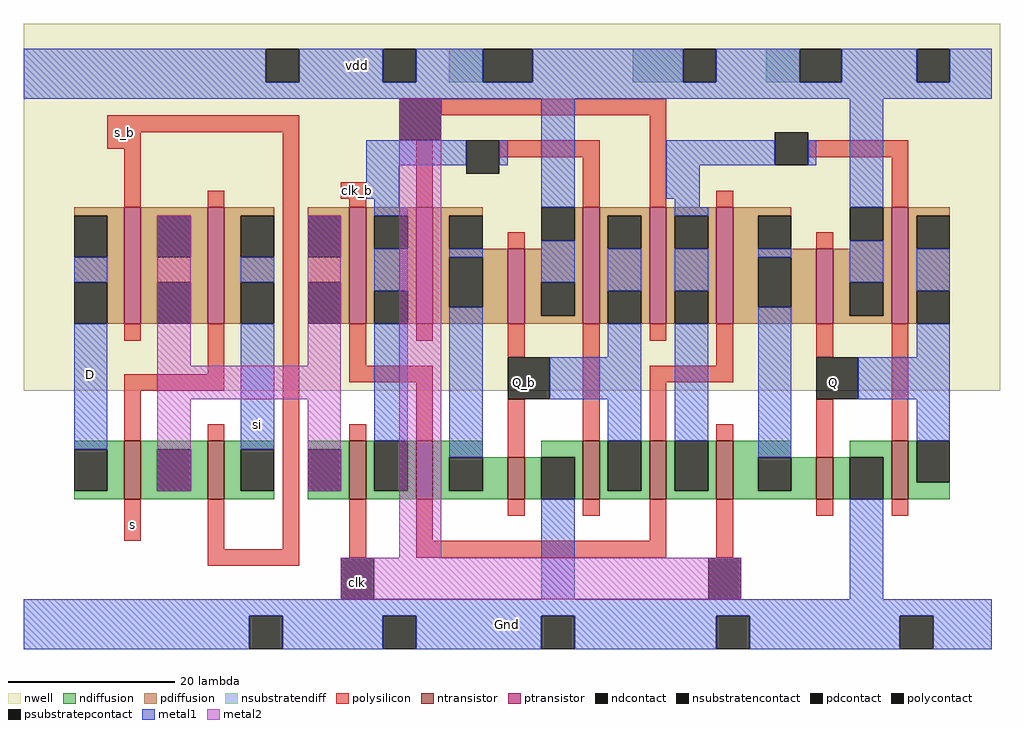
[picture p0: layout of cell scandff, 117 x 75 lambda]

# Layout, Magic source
magic
tech min2
<< nwell >>
rect -26 31 91 75
<< ntransistor >>
rect -14 18 -12 25
rect -4 18 -2 25
rect 13 18 15 25
rect 21 18 23 25
rect 32 18 34 23
rect 41 18 43 25
rect 49 18 51 25
rect 57 18 59 25
rect 69 18 71 23
rect 78 18 80 25
<< ptransistor >>
rect -14 39 -12 53
rect -4 39 -2 53
rect 13 39 15 53
rect 21 39 23 53
rect 32 39 34 48
rect 41 39 43 53
rect 49 39 51 53
rect 57 39 59 53
rect 69 39 71 48
rect 78 39 80 53
<< ndiffusion >>
rect -20 24 -14 25
rect -16 19 -14 24
rect -20 18 -14 19
rect -12 24 -4 25
rect -12 19 -10 24
rect -6 19 -4 24
rect -12 18 -4 19
rect -2 24 4 25
rect -2 19 0 24
rect -2 18 4 19
rect 8 24 13 25
rect 12 19 13 24
rect 8 18 13 19
rect 15 19 16 25
rect 20 19 21 25
rect 15 18 21 19
rect 23 23 29 25
rect 36 23 41 25
rect 23 19 25 23
rect 29 19 32 23
rect 23 18 32 19
rect 34 18 36 23
rect 40 18 41 23
rect 43 19 44 25
rect 48 19 49 25
rect 43 18 49 19
rect 51 19 52 25
rect 56 19 57 25
rect 51 18 57 19
rect 59 23 66 25
rect 73 23 78 25
rect 59 19 62 23
rect 66 19 69 23
rect 59 18 69 19
rect 71 18 73 23
rect 77 18 78 23
rect 80 20 81 25
rect 80 18 85 20
<< pdiffusion >>
rect -20 52 -14 53
rect -16 47 -14 52
rect -20 44 -14 47
rect -16 39 -14 44
rect -12 52 -4 53
rect -12 47 -10 52
rect -6 47 -4 52
rect -12 44 -4 47
rect -12 39 -10 44
rect -6 39 -4 44
rect -2 52 4 53
rect -2 47 0 52
rect -2 44 4 47
rect -2 39 0 44
rect 8 52 13 53
rect 12 47 13 52
rect 8 44 13 47
rect 12 39 13 44
rect 15 52 21 53
rect 15 48 16 52
rect 20 48 21 52
rect 15 43 21 48
rect 15 39 16 43
rect 20 39 21 43
rect 23 52 29 53
rect 23 48 25 52
rect 40 49 41 53
rect 36 48 41 49
rect 23 47 32 48
rect 23 41 25 47
rect 29 41 32 47
rect 23 39 32 41
rect 34 44 41 48
rect 34 40 36 44
rect 40 40 41 44
rect 34 39 41 40
rect 43 52 49 53
rect 43 48 44 52
rect 48 48 49 52
rect 43 43 49 48
rect 43 39 44 43
rect 48 39 49 43
rect 51 52 57 53
rect 51 48 52 52
rect 56 48 57 52
rect 51 43 57 48
rect 51 39 52 43
rect 56 39 57 43
rect 59 52 66 53
rect 59 48 62 52
rect 77 49 78 53
rect 73 48 78 49
rect 59 47 69 48
rect 59 41 62 47
rect 66 41 69 47
rect 59 39 69 41
rect 71 44 78 48
rect 71 40 73 44
rect 77 40 78 44
rect 71 39 78 40
rect 80 52 85 53
rect 80 48 81 52
rect 80 43 85 48
rect 80 39 81 43
<< ndcontact >>
rect -20 19 -16 24
rect -10 19 -6 24
rect 0 19 4 24
rect 8 19 12 24
rect 16 19 20 25
rect 25 19 29 23
rect 36 18 40 23
rect 44 19 48 25
rect 52 19 56 25
rect 62 19 66 23
rect 73 18 77 23
rect 81 20 85 25
<< pdcontact >>
rect -20 47 -16 52
rect -20 39 -16 44
rect -10 47 -6 52
rect -10 39 -6 44
rect 0 47 4 52
rect 0 39 4 44
rect 8 47 12 52
rect 8 39 12 44
rect 16 48 20 52
rect 16 39 20 43
rect 25 48 29 52
rect 36 49 40 53
rect 25 41 29 47
rect 36 40 40 44
rect 44 48 48 52
rect 44 39 48 43
rect 52 48 56 52
rect 52 39 56 43
rect 62 48 66 52
rect 73 49 77 53
rect 62 41 66 47
rect 73 40 77 44
rect 81 48 85 52
rect 81 39 85 43
<< nsubstratendiff >>
rect 25 68 29 72
rect 47 68 53 72
rect 63 68 67 72
<< psubstratepcontact >>
rect 1 0 5 4
rect 17 0 21 4
rect 36 0 40 4
rect 57 0 61 4
rect 79 0 83 4
<< nsubstratencontact >>
rect 3 68 7 72
rect 17 68 21 72
rect 29 68 35 72
rect 53 68 57 72
rect 67 68 72 72
rect 81 68 85 72
<< polysilicon >>
rect -16 62 7 64
rect -16 60 -12 62
rect -14 53 -12 60
rect -4 53 -2 55
rect -14 37 -12 39
rect -4 33 -2 39
rect -14 31 -2 33
rect -14 25 -12 31
rect -4 25 -2 27
rect -14 13 -12 18
rect -4 12 -2 18
rect 5 12 7 62
rect 24 64 51 66
rect 12 54 15 56
rect 13 53 15 54
rect 21 53 23 61
rect 31 59 43 61
rect 41 53 43 59
rect 49 53 51 64
rect 68 59 80 61
rect 57 53 59 55
rect 78 53 80 59
rect 32 48 34 50
rect 69 48 71 50
rect 13 34 15 39
rect 21 37 23 39
rect 32 35 34 39
rect 13 32 23 34
rect 13 25 15 27
rect 21 25 23 32
rect 32 23 34 30
rect 41 25 43 39
rect 49 37 51 39
rect 57 34 59 39
rect 49 32 59 34
rect 69 35 71 39
rect 49 25 51 32
rect 57 25 59 27
rect 69 23 71 30
rect 78 25 80 39
rect -4 10 7 12
rect 13 11 15 18
rect 21 13 23 18
rect 32 16 34 18
rect 41 16 43 18
rect 49 13 51 18
rect 21 11 51 13
rect 57 11 59 18
rect 69 16 71 18
rect 78 16 80 18
<< polycontact >>
rect 19 61 24 66
rect 27 57 31 61
rect 64 58 68 62
rect 32 30 37 35
rect 69 30 74 35
rect 12 6 16 11
rect 56 6 60 11
<< metal1 >>
rect -26 68 3 72
rect 7 68 17 72
rect 21 68 29 72
rect 35 68 53 72
rect 57 68 67 72
rect 72 68 81 72
rect 85 68 90 72
rect -26 66 90 68
rect 15 58 27 61
rect 15 54 19 58
rect 31 58 32 61
rect 16 53 19 54
rect 36 53 40 66
rect 51 58 64 61
rect 68 58 69 61
rect 51 54 55 58
rect 16 52 20 53
rect -20 44 -16 47
rect 0 44 4 47
rect 16 43 20 48
rect -20 24 -16 39
rect 0 24 4 39
rect 16 25 20 39
rect 25 47 29 48
rect 25 23 29 41
rect 52 53 55 54
rect 73 53 77 66
rect 52 52 56 53
rect 36 44 40 49
rect 44 43 48 48
rect 44 35 48 39
rect 37 30 48 35
rect 44 25 48 30
rect 52 43 56 48
rect 52 25 56 39
rect 62 47 66 48
rect 62 23 66 41
rect 73 44 77 49
rect 81 43 85 48
rect 81 35 85 39
rect 74 30 85 35
rect 81 25 85 30
rect 36 6 40 18
rect 73 6 77 18
rect -26 4 90 6
rect -26 0 1 4
rect 5 0 17 4
rect 21 0 36 4
rect 40 0 57 4
rect 61 0 79 4
rect 83 0 90 4
<< metal2 >>
rect -10 34 -6 52
rect 8 34 12 52
rect -10 30 12 34
rect -10 19 -6 30
rect 8 19 12 30
rect 19 11 24 66
rect 12 6 60 11
<< labels >>
rlabel metal1 14 70 14 70 5 vdd
rlabel polysilicon 14 55 14 55 1 clk_b
rlabel metal1 32 3 32 3 1 Gnd
rlabel polycontact 71 32 71 32 1 Q
rlabel polycontact 34 32 34 32 1 Q_b
rlabel metal2 14 8 14 8 1 clk
rlabel polysilicon -13 15 -13 15 1 s
rlabel polysilicon -14 62 -14 62 1 s_b
rlabel metal1 -18 33 -18 33 1 D
rlabel metal1 2 27 2 27 1 si
<< end >>
